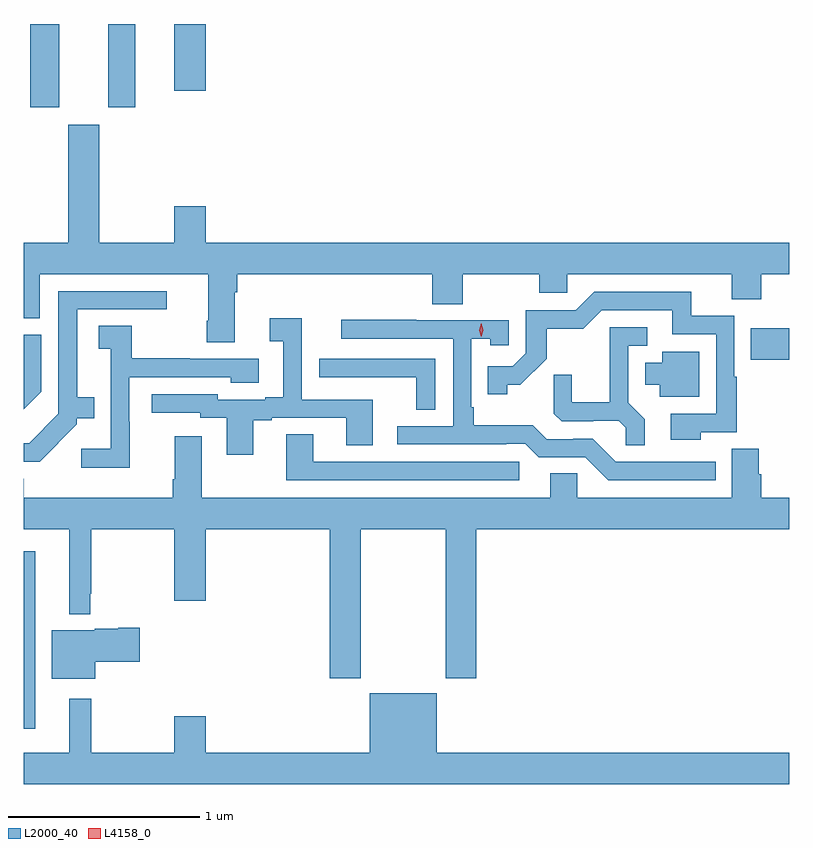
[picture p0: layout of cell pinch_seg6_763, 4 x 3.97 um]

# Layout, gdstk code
import gdstk
lib = gdstk.Library(unit=1e-6, precision=1e-09)
def R(c, l, rs):  # rectangles x0, y0, x1, y1
    for r in rs: c.add(gdstk.rectangle(r[:2], r[2:], *l))
def P(c, l, *ps):  # polygons
    for p in ps: c.add(gdstk.Polygon(p, *l))
L2000_40 = (2000, 40)
L4158_0 = (4158, 0)

pinch_seg6_763 = lib.new_cell('pinch_seg6_763')
R(pinch_seg6_763, L2000_40, [(344.041,968.937,344.101,969.865), (347.839,970.864,348.041,971.029), (344.075,972.183,344.227,972.618), (344.483,972.183,344.623,972.618), (344.828,972.27,344.992,972.618)])
P(pinch_seg6_763, L2000_40, [(344.992,971.665),(344.828,971.665),(344.828,971.476),(344.437,971.476),(344.437,972.091),(344.273,972.091),(344.273,971.476),(344.041,971.476),(344.041,971.08),(344.125,971.08),(344.125,971.312),(345.005,971.312),(345.005,971.068),(344.998,971.068),(344.998,970.956),(345.145,970.956),(345.145,971.216),(345.158,971.216),(345.158,971.312),(346.175,971.312),(346.175,971.155),(346.335,971.155),(346.335,971.312),(346.735,971.312),(346.735,971.214),(346.881,971.214),(346.881,971.312),(347.741,971.312),(347.741,971.179),(347.894,971.179),(347.894,971.312),(348.041,971.312),(348.041,971.476),(344.992,971.476)],
  [(344.319,970.527),(344.319,970.559),(344.411,970.559),(344.411,970.669),(344.32,970.669),(344.32,971.127),(344.788,971.127),(344.788,971.223),(344.223,971.223),(344.223,970.581),(344.07,970.428),(344.041,970.428),(344.041,970.332),(344.124,970.332)],
  [(347.577,970.485),(347.767,970.485),(347.767,970.775),(347.754,970.775),(347.754,971.094),(347.528,971.094),(347.528,971.22),(347.022,971.22),(346.926,971.124),(346.665,971.124),(346.665,970.899),(346.596,970.83),(346.465,970.83),(346.465,970.683),(346.566,970.683),(346.566,970.733),(346.636,970.733),(346.774,970.87),(346.774,971.026),(346.963,971.026),(347.061,971.124),(347.429,971.124),(347.429,970.998),(347.658,970.998),(347.658,970.581),(347.421,970.581),(347.421,970.445),(347.577,970.445)],
  [(345.241,970.548),(345.337,970.548),(345.337,970.56),(345.725,970.56),(345.725,970.417),(345.865,970.417),(345.865,970.656),(345.495,970.656),(345.495,971.08),(345.327,971.08),(345.327,970.96),(345.398,970.96),(345.398,970.669),(345.302,970.669),(345.302,970.656),(345.054,970.656),(345.054,970.683),(344.709,970.683),(344.709,970.587),(344.964,970.587),(344.964,970.56),(345.101,970.56),(345.101,970.368),(345.241,970.368)],
  [(347.656,970.332),(347.133,970.332),(347.013,970.452),(346.912,970.452),(346.912,970.449),(346.773,970.449),(346.7,970.522),(346.393,970.522),(346.393,970.615),(346.38,970.615),(346.38,970.973),(346.479,970.973),(346.479,970.941),(346.575,970.941),(346.575,971.07),(346.091,971.07),(346.091,971.073),(345.699,971.073),(345.699,970.974),(346.284,970.974),(346.284,970.518),(345.993,970.518),(345.993,970.422),(346.562,970.422),(346.562,970.425),(346.662,970.425),(346.731,970.356),(346.974,970.356),(347.094,970.236),(347.656,970.236)],
  [(344.595,970.541),(344.592,970.541),(344.592,970.773),(345.123,970.773),(345.123,970.745),(345.268,970.745),(345.268,970.869),(344.909,970.869),(344.909,970.872),(344.605,970.872),(344.605,971.042),(344.433,971.042),(344.433,970.921),(344.496,970.921),(344.496,970.399),(344.343,970.399),(344.343,970.301),(344.595,970.301)],
  [(347.285,970.553),(347.199,970.639),(347.199,970.938),(347.299,970.938),(347.299,971.034),(347.102,971.034),(347.102,970.642),(346.904,970.642),(346.904,970.785),(346.81,970.785),(346.81,970.583),(346.851,970.542),(347.016,970.542),(347.016,970.545),(347.15,970.545),(347.187,970.508),(347.187,970.417),(347.285,970.417)],
  [(344.133,970.697),(344.133,970.995),(344.041,970.995),(344.041,970.605)],
  [(347.569,970.906),(347.378,970.906),(347.378,970.849),(347.288,970.849),(347.288,970.733),(347.363,970.733),(347.363,970.67),(347.569,970.67)],
  [(346.191,970.869),(345.585,970.869),(345.585,970.774),(345.697,970.774),(345.697,970.773),(346.093,970.773),(346.093,970.603),(346.191,970.603)],
  [(346.63,970.332),(345.553,970.332),(345.553,970.475),(345.413,970.475),(345.413,970.236),(346.63,970.236)],
  [(345.801,969.98),(346.246,969.98),(346.246,969.201),(346.406,969.201),(346.406,969.98),(348.041,969.98),(348.041,970.144),(347.894,970.144),(347.894,970.266),(347.881,970.266),(347.881,970.4),(347.741,970.4),(347.741,970.144),(346.932,970.144),(346.932,970.271),(346.793,970.271),(346.793,970.144),(344.971,970.144),(344.971,970.465),(344.831,970.465),(344.831,970.24),(344.819,970.24),(344.819,970.144),(344.042,970.144),(344.042,970.243),(344.041,970.243),(344.041,969.98),(344.279,969.98),(344.279,969.536),(344.389,969.536),(344.389,969.643),(344.393,969.643),(344.393,969.98),(344.828,969.98),(344.828,969.606),(344.992,969.606),(344.992,969.98),(345.641,969.98),(345.641,969.201),(345.801,969.201)],
  [(344.416,969.286),(344.647,969.286),(344.647,969.464),(344.534,969.464),(344.534,969.458),(344.412,969.458),(344.412,969.451),(344.189,969.451),(344.189,969.197),(344.416,969.197)],
  [(348.041,968.812),(346.198,968.812),(346.198,969.121),(345.848,969.121),(345.848,968.812),(344.992,968.812),(344.992,969.001),(344.828,969.001),(344.828,968.812),(344.393,968.812),(344.393,969.094),(344.279,969.094),(344.279,968.812),(344.041,968.812),(344.041,968.648),(348.041,968.648)])
P(pinch_seg6_763, L4158_0, [(346.431,970.983),(346.431,970.983),(346.421,971.019),(346.431,971.055),(346.431,971.055),(346.431,971.055),(346.441,971.019),(346.431,970.983)])

lib.write_gds('pinch_seg6_763.gds')
